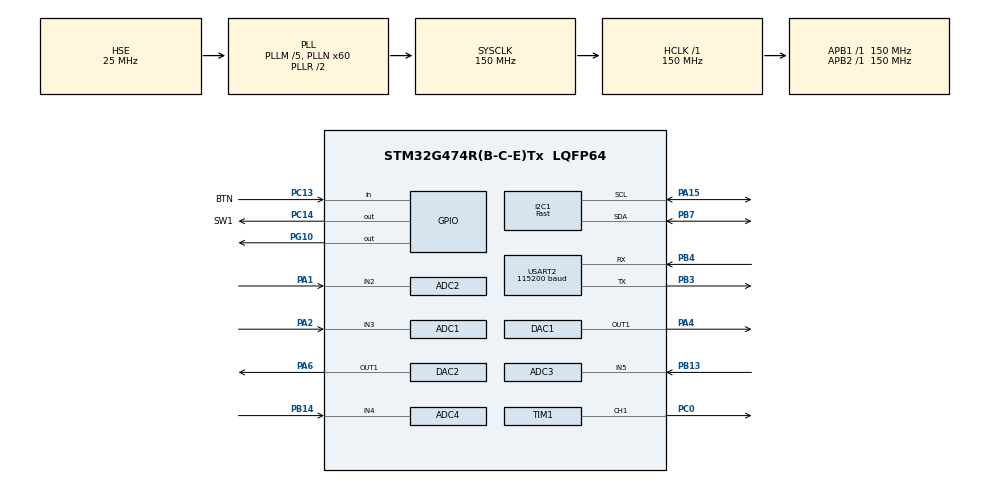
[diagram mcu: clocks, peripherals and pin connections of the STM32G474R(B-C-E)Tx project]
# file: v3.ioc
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ADC1.Channel-0\#ChannelRegularConversion=ADC_CHANNEL_3
ADC1.ClockPrescaler=ADC_CLOCK_ASYNC_DIV1
ADC1.ContinuousConvMode=DISABLE
ADC1.ExternalTrigConv=ADC_EXTERNALTRIG_T6_TRGO
ADC1.NbrOfConversion=1
ADC1.NbrOfConversionFlag=1
ADC1.OffsetNumber-0\#ChannelRegularConversion=ADC_OFFSET_NONE
ADC1.Rank-0\#ChannelRegularConversion=1
ADC1.SamplingTime-0\#ChannelRegularConversion=ADC_SAMPLETIME_2CYCLES_5
ADC1.master=1
ADC2.Channel-0\#ChannelRegularConversion=ADC_CHANNEL_2
ADC2.ClockPrescaler=ADC_CLOCK_ASYNC_DIV1
ADC2.NbrOfConversionFlag=1
ADC2.OffsetNumber-0\#ChannelRegularConversion=ADC_OFFSET_NONE
ADC2.Rank-0\#ChannelRegularConversion=1
ADC2.SamplingTime-0\#ChannelRegularConversion=ADC_SAMPLETIME_2CYCLES_5
ADC3.Channel-0\#ChannelRegularConversion=ADC_CHANNEL_5
ADC3.ClockPrescaler=ADC_CLOCK_ASYNC_DIV1
ADC3.NbrOfConversionFlag=1
ADC3.OffsetNumber-0\#ChannelRegularConversion=ADC_OFFSET_NONE
ADC3.Rank-0\#ChannelRegularConversion=1
ADC3.SamplingTime-0\#ChannelRegularConversion=ADC_SAMPLETIME_2CYCLES_5
ADC3.master=1
ADC4.Channel-1\#ChannelRegularConversion=ADC_CHANNEL_4
ADC4.ClockPrescaler=ADC_CLOCK_ASYNC_DIV1
ADC4.NbrOfConversionFlag=1
ADC4.OffsetNumber-1\#ChannelRegularConversion=ADC_OFFSET_NONE
ADC4.Rank-1\#ChannelRegularConversion=1
ADC4.SamplingTime-1\#ChannelRegularConversion=ADC_SAMPLETIME_2CYCLES_5
CRC.CRCLength=CRC_POLYLENGTH_16B
CRC.DefaultInitValueUse=DEFAULT_INIT_VALUE_DISABLE
CRC.DefaultPolynomialUse=DEFAULT_POLYNOMIAL_DISABLE
CRC.GeneratingPolynomial=X12+X5+X0
DAC1.DAC_Trigger_OUT1-DAC_OUT1=DAC_TRIGGER_SOFTWARE
DAC2.DAC_Trigger_OUT1-DAC_OUT1=DAC_TRIGGER_SOFTWARE
Dma.ADC1.3.Direction=DMA_PERIPH_TO_MEMORY
Dma.ADC1.3.EventEnable=DISABLE
Dma.ADC1.3.Instance=DMA1_Channel4
Dma.ADC1.3.MemDataAlignment=DMA_MDATAALIGN_HALFWORD
Dma.ADC1.3.MemInc=DMA_MINC_ENABLE
Dma.ADC1.3.Mode=DMA_NORMAL
Dma.ADC1.3.PeriphDataAlignment=DMA_PDATAALIGN_HALFWORD
Dma.ADC1.3.PeriphInc=DMA_PINC_DISABLE
Dma.ADC1.3.Polarity=HAL_DMAMUX_REQ_GEN_RISING
Dma.ADC1.3.Priority=DMA_PRIORITY_LOW
Dma.ADC1.3.RequestNumber=1
Dma.ADC1.3.SignalID=NONE
Dma.ADC1.3.SyncEnable=DISABLE
Dma.ADC1.3.SyncPolarity=HAL_DMAMUX_SYNC_NO_EVENT
Dma.ADC1.3.SyncRequestNumber=1
Dma.ADC1.3.SyncSignalID=NONE
Dma.DAC1_CH1.1.Direction=DMA_MEMORY_TO_PERIPH
Dma.DAC1_CH1.1.EventEnable=DISABLE
Dma.DAC1_CH1.1.Instance=DMA1_Channel3
Dma.DAC1_CH1.1.MemDataAlignment=DMA_MDATAALIGN_HALFWORD
Dma.DAC1_CH1.1.MemInc=DMA_MINC_ENABLE
Dma.DAC1_CH1.1.Mode=DMA_CIRCULAR
Dma.DAC1_CH1.1.PeriphDataAlignment=DMA_PDATAALIGN_WORD
Dma.DAC1_CH1.1.PeriphInc=DMA_PINC_DISABLE
Dma.DAC1_CH1.1.Polarity=HAL_DMAMUX_REQ_GEN_RISING
Dma.DAC1_CH1.1.Priority=DMA_PRIORITY_LOW
Dma.DAC1_CH1.1.RequestNumber=1
Dma.DAC1_CH1.1.SignalID=NONE
Dma.DAC1_CH1.1.SyncEnable=DISABLE
Dma.DAC1_CH1.1.SyncPolarity=HAL_DMAMUX_SYNC_NO_EVENT
Dma.DAC1_CH1.1.SyncRequestNumber=1
Dma.DAC1_CH1.1.SyncSignalID=NONE
Dma.Request0=USART2_RX
Dma.Request1=DAC1_CH1
Dma.Request2=USART2_TX
Dma.Request3=ADC1
Dma.USART2_RX.0.Direction=DMA_PERIPH_TO_MEMORY
Dma.USART2_RX.0.EventEnable=DISABLE
Dma.USART2_RX.0.Instance=DMA1_Channel1
Dma.USART2_RX.0.MemDataAlignment=DMA_MDATAALIGN_BYTE
Dma.USART2_RX.0.MemInc=DMA_MINC_ENABLE
Dma.USART2_RX.0.Mode=DMA_NORMAL
Dma.USART2_RX.0.PeriphDataAlignment=DMA_PDATAALIGN_BYTE
Dma.USART2_RX.0.PeriphInc=DMA_PINC_DISABLE
Dma.USART2_RX.0.Polarity=HAL_DMAMUX_REQ_GEN_RISING
Dma.USART2_RX.0.Priority=DMA_PRIORITY_LOW
Dma.USART2_RX.0.RequestNumber=1
Dma.USART2_RX.0.SignalID=NONE
Dma.USART2_RX.0.SyncEnable=DISABLE
Dma.USART2_RX.0.SyncPolarity=HAL_DMAMUX_SYNC_NO_EVENT
Dma.USART2_RX.0.SyncRequestNumber=1
Dma.USART2_RX.0.SyncSignalID=NONE
Dma.USART2_TX.2.Direction=DMA_MEMORY_TO_PERIPH
Dma.USART2_TX.2.EventEnable=DISABLE
Dma.USART2_TX.2.Instance=DMA1_Channel2
Dma.USART2_TX.2.MemDataAlignment=DMA_MDATAALIGN_BYTE
Dma.USART2_TX.2.MemInc=DMA_MINC_ENABLE
Dma.USART2_TX.2.Mode=DMA_NORMAL
Dma.USART2_TX.2.PeriphDataAlignment=DMA_PDATAALIGN_BYTE
Dma.USART2_TX.2.PeriphInc=DMA_PINC_DISABLE
Dma.USART2_TX.2.Polarity=HAL_DMAMUX_REQ_GEN_RISING
Dma.USART2_TX.2.Priority=DMA_PRIORITY_LOW
Dma.USART2_TX.2.RequestNumber=1
Dma.USART2_TX.2.SignalID=NONE
Dma.USART2_TX.2.SyncEnable=DISABLE
Dma.USART2_TX.2.SyncPolarity=HAL_DMAMUX_SYNC_NO_EVENT
Dma.USART2_TX.2.SyncRequestNumber=1
Dma.USART2_TX.2.SyncSignalID=NONE
I2C1.I2C_Speed_Mode=I2C_Fast
I2C1.Timing=0x00E063FF
Mcu.Family=STM32G4
Mcu.Name=STM32G474R(B-C-E)Tx
Mcu.Package=LQFP64
NVIC.DMA1_Channel1_IRQn=true\:1\:0\:true\:false\:true\:true\:true\:true
NVIC.DMA1_Channel2_IRQn=true\:1\:0\:true\:false\:true\:true\:true\:true
NVIC.DMA1_Channel3_IRQn=true\:1\:0\:true\:false\:true\:false\:true\:true
NVIC.DMA1_Channel4_IRQn=true\:1\:0\:true\:false\:true\:false\:true\:true
NVIC.PriorityGroup=NVIC_PRIORITYGROUP_4
NVIC.TIM6_DAC_IRQn=true\:0\:0\:false\:false\:true\:true\:true\:true
NVIC.TIM7_DAC_IRQn=true\:0\:0\:false\:false\:true\:true\:true\:true
NVIC.USART2_IRQn=true\:0\:0\:true\:false\:true\:true\:true\:true
PA1.Mode=IN2-Single-Ended
PA1.Signal=ADC2_IN2
PA15.Mode=I2C
PA15.Signal=I2C1_SCL
PA2.Mode=IN3-Single-Ended
PA2.Signal=ADC1_IN3
PA4.Signal=COMP_DAC11_group
PA6.Signal=COMP_DAC21_group
PB13.Mode=IN5-Single-Ended
PB13.Signal=ADC3_IN5
PB14.Mode=IN4-Single-Ended
PB14.Signal=ADC4_IN4
PB3.Mode=Asynchronous
PB3.Signal=USART2_TX
PB4.Mode=Asynchronous
PB4.Signal=USART2_RX
PB7.Mode=I2C
PB7.Signal=I2C1_SDA
PC0.Signal=S_TIM1_CH1
PC13.GPIO_Label=BTN
PC13.GPIO_PuPd=GPIO_PULLUP
PC13.Signal=GPIO_Input
PC14-OSC32_IN.GPIO_Label=SW1
PC14-OSC32_IN.GPIO_PuPd=GPIO_NOPULL
PC14-OSC32_IN.Signal=GPIO_Output
PF0-OSC_IN.Mode=HSE-External-Oscillator
PF0-OSC_IN.Signal=RCC_OSC_IN
PF1-OSC_OUT.Mode=HSE-External-Oscillator
PF1-OSC_OUT.Signal=RCC_OSC_OUT
PG10-NRST.Signal=GPIO_Output
ProjectManager.HeapSize=0x200
ProjectManager.StackSize=0x400
ProjectManager.TargetToolchain=STM32CubeIDE
RCC.ADC12CLockSelection=RCC_ADC12CLKSOURCE_PLL
RCC.ADC12Freq_Value=60000000
RCC.ADC345CLockSelection=RCC_ADC345CLKSOURCE_PLL
RCC.ADC345Freq_Value=60000000
RCC.AHBFreq_Value=150000000
RCC.APB1Freq_Value=150000000
RCC.APB1TimFreq_Value=150000000
RCC.APB2Freq_Value=150000000
RCC.APB2TimFreq_Value=150000000
RCC.CortexFreq_Value=150000000
RCC.EXTERNAL_CLOCK_VALUE=12288000
RCC.HCLKFreq_Value=150000000
RCC.HSE_VALUE=25000000
RCC.HSI48_VALUE=48000000
RCC.HSI_VALUE=16000000
RCC.LSE_VALUE=32768
RCC.PLLM=RCC_PLLM_DIV5
RCC.PLLN=60
RCC.PLLP=RCC_PLLP_DIV5
RCC.PLLSourceVirtual=RCC_PLLSOURCE_HSE
RCC.SYSCLKFreq_VALUE=150000000
RCC.SYSCLKSource=RCC_SYSCLKSOURCE_PLLCLK
RCC.USART2CLockSelection=RCC_USART2CLKSOURCE_HSI
RCC.USBFreq_Value=150000000
RCC.VCOOutputFreq_Value=300000000
SH.COMP_DAC11_group.0=DAC1_OUT1,DAC_OUT1
SH.COMP_DAC21_group.0=DAC2_OUT1,DAC_OUT1
SH.S_TIM1_CH1.0=TIM1_CH1,PWM Generation1 CH1
TIM1.Channel-PWM\ Generation1\ CH1=TIM_CHANNEL_1
TIM1.PeriodNoDither=149
TIM1.PulseNoDither_1=75
TIM6.AutoReloadPreload=TIM_AUTORELOAD_PRELOAD_ENABLE
TIM6.PeriodNoDither=149
TIM6.Prescaler=0
TIM6.TIM_MasterOutputTrigger=TIM_TRGO_UPDATE
USART2.BaudRate=115200
USART2.VirtualMode-Asynchronous=VM_ASYNC
VP_CRC_VS_CRC.Mode=CRC_Activate
VP_SYS_VS_DBSignals.Mode=DisableDeadBatterySignals
VP_TIM6_VS_ClockSourceINT.Mode=Enable_Timer
board=custom

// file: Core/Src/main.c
/* USER CODE BEGIN Header */
/**
 ******************************************************************************
 * @file           : main.c
 * @brief          : Main program body
 ******************************************************************************
 * @attention
 *
 * Copyright (c) 2024 STMicroelectronics.
 * All rights reserved.
 *
 * This software is licensed under terms that can be found in the LICENSE file
 * in the root directory of this software component.
 * If no LICENSE file comes with this software, it is provided AS-IS.
 *
 ******************************************************************************
 */
/* USER CODE END Header */
#include "main.h"

/* USER CODE BEGIN Includes */
#include "arm_math.h"
#include "arm_const_structs.h"
#include <string.h>
#include "uart_reg.h"
#include <stdio.h>
/* USER CODE END Includes */

/* USER CODE BEGIN PD */
#define samples 4096
#define FFT_LENGTH 4096
#define samples1 1024
#define FFT_LENGTH1 1024
/* USER CODE END PD */

ADC_HandleTypeDef hadc1;
ADC_HandleTypeDef hadc2;
ADC_HandleTypeDef hadc3;
ADC_HandleTypeDef hadc4;
DMA_HandleTypeDef hdma_adc1;

CRC_HandleTypeDef hcrc;

DAC_HandleTypeDef hdac1;
DAC_HandleTypeDef hdac2;
DMA_HandleTypeDef hdma_dac1_ch1;

I2C_HandleTypeDef hi2c1;

TIM_HandleTypeDef htim1;
TIM_HandleTypeDef htim6;

UART_HandleTypeDef huart2;
DMA_HandleTypeDef hdma_usart2_rx;
DMA_HandleTypeDef hdma_usart2_tx;

void SystemClock_Config(void);
static void MX_GPIO_Init(void);
static void MX_DMA_Init(void);
static void MX_USART2_UART_Init(void);
static void MX_CRC_Init(void);
static void MX_ADC1_Init(void);
static void MX_I2C1_Init(void);
static void MX_DAC1_Init(void);
static void MX_TIM6_Init(void);
static void MX_ADC2_Init(void);
static void MX_ADC3_Init(void);
static void MX_ADC4_Init(void);
static void MX_TIM1_Init(void);
static void MX_DAC2_Init(void);

/* USER CODE BEGIN 0 */

uint16_t adc_buffer[samples];
uint8_t adc_buffer1[samples1];
float thd = 0;
volatile int adc_ongoing = 0; //volatile affects compiler compilation results. volatile indicates that variables may change at any time. Do not optimize operations related to volatile variables to avoid errors
void floatToString(float num, char *str, int precision);
void HAL_ADC_ConvCpltCallback(ADC_HandleTypeDef *hadc) {
	if (hadc == &hadc1) {
		adc_ongoing = 0;
		HAL_TIM_Base_Stop(&htim6);
		HAL_ADC_Stop_DMA(hadc);
	}
}
void i2c_handler(uint8_t *data, size_t size) {
	if (data[0] == 'W') {
		uint8_t addr = data[1];
		uint8_t len = size - 2;
		uint8_t ret = 0;
		if (HAL_I2C_Master_Transmit(&hi2c1, addr, data + 2, len, len + 1)
				!= HAL_OK)
			ret = -1;
		uart_transmit(&ret, 1);
	} else if (data[0] == 'R') {
		uint8_t addr = data[1];
		uint8_t len = data[2];
		uint8_t ret[len + 1];
		ret[0] = 0;
		if (HAL_I2C_Master_Receive(&hi2c1, addr, ret + 1, len, len + 1)
				!= HAL_OK)
			ret[0] = -1;
		uart_transmit(ret, len + 1);
	}
}

void adc_handler(uint8_t *data, size_t size) {
//	const char lzz[6]="wsy\r\n";
//	uart_transmit(lzz, 6);
	uart_transmit(adc_buffer1, samples1);
}

void split_uint16_to_uint8(const uint16_t *uint16_array,
		size_t uint16_array_size, uint8_t *uint8_array) {
	for (size_t i = 0; i < uint16_array_size; i++) {
		uint8_array[i * 2 + 1] = (uint8_t) (uint16_array[i] >> 8);
		uint8_array[i * 2] = (uint8_t) (uint16_array[i] & 0xFF);
	}
}
int findMaxIndexInRange(uint16_t arr[], int start, int end) {
	int maxIndex = start;
	for (int i = start + 1; i <= end; i++) {
		if (arr[i] > arr[maxIndex]) {
			maxIndex = i;
		}
	}
	return maxIndex;
}
void calculateTHD (uint16_t fft_int[])
{
  int max = findMaxIndexInRange (fft_int, 0, 511);
  float fundamental_amplitude = fft_int[max];
  float harmonics_amplitude_sum_squared = 0.0f;
  int second = findMaxIndexInRange (fft_int, 150, 250);
  int third = findMaxIndexInRange (fft_int, 250, 350);
  int fourth = findMaxIndexInRange (fft_int, 350, 450);
  int fifth = findMaxIndexInRange (fft_int, 450, 511);
  harmonics_amplitude_sum_squared = fft_int[second] * fft_int[second]
      + fft_int[third] * fft_int[third] + fft_int[fourth] * fft_int[fourth]
      + fft_int[fifth] * fft_int[fifth];
  harmonics_amplitude_sum_squared = sqrtf (harmonics_amplitude_sum_squared);
  thd = 100 * (harmonics_amplitude_sum_squared) / (fundamental_amplitude);
  int a = 0;
  a = a + 1;
}
uint16_t findMax(uint16_t arr[], int size) {
	uint16_t max = 0;
	for (int i = 0; i < size; i++) {
		if (arr[i] > max) {
			max = arr[i];
		}
	}
	return max;
}

// 找出数组中的�???????小�??
uint16_t findMin(uint16_t arr[], int size) {
	uint16_t min = UINT16_MAX;
	for (int i = 0; i < size; i++) {
		if (arr[i] < min) {
			min = arr[i];
		}
	}
	return min;
}
/* USER CODE END 0 */

int main(void) {

	/* MCU Configuration--------------------------------------------------------*/

	/* Reset of all peripherals, Initializes the Flash interface and the Systick. */
	HAL_Init();

	/* Configure the system clock */
	SystemClock_Config();

	/* Initialize all configured peripherals */
	MX_GPIO_Init();
	MX_DMA_Init();
	MX_USART2_UART_Init();
	MX_CRC_Init();
	MX_ADC1_Init();
	MX_I2C1_Init();
	MX_DAC1_Init();
	MX_TIM6_Init();
	MX_ADC2_Init();
	MX_ADC3_Init();
	MX_ADC4_Init();
	MX_TIM1_Init();
	MX_DAC2_Init();
	/* USER CODE BEGIN 2 */
	for (int i = 0; i < 3; i++) {
		HAL_TIM_Base_Start(&htim6);
		HAL_ADC_Start_DMA(&hadc1, (uint32_t*) adc_buffer, samples);
		adc_ongoing = 1;
		while (adc_ongoing)
			;
		HAL_Delay(30);
	}
	float fft_inputbuf1[FFT_LENGTH * 2];	//FFT输入数组
	float fft_outputbuf1[FFT_LENGTH];	//FFT输出数组
	uint16_t fft_int1[FFT_LENGTH / 2];		//将输出变成整�???????
	for (int i = 0; i < FFT_LENGTH; i++)	//生成信号序列
			{
		fft_inputbuf1[2 * i] = adc_buffer[i] / 8;
		fft_inputbuf1[2 * i + 1] = 0;	//信号虚部，全部为0
	}
	arm_cfft_f32(&arm_cfft_sR_f32_len4096, fft_inputbuf1, 0, 1);
	arm_cmplx_mag_f32(fft_inputbuf1, fft_outputbuf1, FFT_LENGTH);
	for (int i = 0; i < FFT_LENGTH / 2; i++)	//生成信号序列
			{
		fft_int1[i] = (uint16_t) fft_outputbuf1[i];
	}
	fft_int1[0] = 0;
	int max1 = 15000 / findMaxIndexInRange(fft_int1, 0, 511);
	TIM6->ARR = max1 - 1;
	HAL_GPIO_WritePin(SW1_GPIO_Port, SW1_Pin, GPIO_PIN_RESET);
	HAL_DAC_SetValue(&hdac1, DAC_CHANNEL_1, DAC_ALIGN_12B_R, 2048);
	HAL_DAC_Start(&hdac1, DAC_CHANNEL_1);
	HAL_DAC_SetValue(&hdac2, DAC_CHANNEL_1, DAC_ALIGN_12B_R, 2048);
	HAL_DAC_Start(&hdac2, DAC_CHANNEL_1);
	int v = 1000;
	int vl = 200;
	int vr = 2000;
	int x = v * 4096 / 3300;
	int xl = vl * 4096 / 3300;
	int xr = vr * 4096 / 3300;
	uint16_t vpp = 0;
	HAL_DAC_SetValue(&hdac1, DAC_CHANNEL_1, DAC_ALIGN_12B_R, x);
	HAL_DAC_Start(&hdac1, DAC_CHANNEL_1);
	HAL_Delay(20);
	for (int i = 0; i < 2; i++) {
		HAL_TIM_Base_Start(&htim6);
		HAL_ADC_Start_DMA(&hadc1, (uint32_t*) adc_buffer, samples);
		adc_ongoing = 1;
		while (adc_ongoing)
			;
		HAL_Delay(30);
	}
	vpp = findMax(adc_buffer, samples) - findMin(adc_buffer, samples);
	for (int i = 0; i < 10; i++) {
		if (vpp > 3000 * 4096 / 3300) {
			xl = x;
			x = (x + xr) / 2;
		} else {
			xr = x;
			x = (x + xl) / 2;
		}
		HAL_DAC_SetValue(&hdac1, DAC_CHANNEL_1, DAC_ALIGN_12B_R, x);
		HAL_DAC_Start(&hdac1, DAC_CHANNEL_1);
		for (int i = 0; i < 2; i++) {
			HAL_TIM_Base_Start(&htim6);
			HAL_ADC_Start_DMA(&hadc1, (uint32_t*) adc_buffer, samples);
			adc_ongoing = 1;
			while (adc_ongoing)
				;
			HAL_Delay(30);
		}
		vpp = findMax(adc_buffer, samples) - findMin(adc_buffer, samples);
	}
	HAL_DAC_SetValue(&hdac2, DAC_CHANNEL_1, DAC_ALIGN_12B_R,
			(int) 2200 * 4096 / 3300);
	HAL_DAC_Start(&hdac2, DAC_CHANNEL_1);
	uart_init();
	uart_register_handler("I2C", i2c_handler);
	uart_register_handler("ADC", adc_handler);
//	TIM6->ARR = 299;
//	for (int i = 0; i < 3; i++) {
//		HAL_TIM_Base_Start(&htim6);
//		HAL_ADC_Start_DMA(&hadc1, (uint32_t*) adc_buffer, samples);
//		adc_ongoing = 1;
//		while (adc_ongoing)
//			;
//		HAL_Delay(300);
//	}
//	for (int i = 0; i < FFT_LENGTH; i++)	//生成信号序列
//			{
//		fft_inputbuf[2 * i] = adc_buffer[i] / 4;
//		fft_inputbuf[2 * i + 1] = 0;	//信号虚部，全部为0
//	}
//	arm_cfft_f32(&arm_cfft_sR_f32_len4096, fft_inputbuf, 0, 1);
//	arm_cmplx_mag_f32(fft_inputbuf, fft_outputbuf, FFT_LENGTH);
//	for (int i = 0; i < FFT_LENGTH; i++)	//生成信号序列
//			{
//		fft_int[i] = (uint16_t) fft_outputbuf[i];
//	}
//	fft_int[0] = 0;
//	max = 3000 / findMaxIndexInRange(fft_int, 0, 511);
//	TIM6->PSC = 9;
//	TIM6->ARR = (max - 1);
//	for (int i = 0; i < 3; i++) {
//		HAL_TIM_Base_Start(&htim6);
//		HAL_ADC_Start_DMA(&hadc1, (uint32_t*) adc_buffer, samples);
//		adc_ongoing = 1;
//		while (adc_ongoing)
//			;
//		HAL_Delay(30);
//	}
//	for (int i = 0; i < FFT_LENGTH; i++)	//生成信号序列
//			{
//		fft_inputbuf[2 * i] = adc_buffer[i] / 8;
//		fft_inputbuf[2 * i + 1] = 0;	//信号虚部，全部为0
//	}
//	arm_cfft_f32(&arm_cfft_sR_f32_len4096, fft_inputbuf, 0, 1);
//	arm_cmplx_mag_f32(fft_inputbuf, fft_outputbuf, FFT_LENGTH);
//	for (int i = 0; i < FFT_LENGTH / 2; i++)	//生成信号序列
//			{
//		fft_int[i] = (uint16_t) fft_outputbuf[i];
//	}
//	fft_int[0] = 0;
//	split_uint16_to_uint8(fft_int, samples /2, adc_buffer1);
//	calculateTHD(fft_int);

//	for (int i = 0; i < 3; i++) {
//		HAL_TIM_Base_Start(&htim6);
//		HAL_ADC_Start_DMA(&hadc1, (uint32_t*) adc_buffer, samples);
//		adc_ongoing = 1;
//		while (adc_ongoing)
//			;
//		HAL_Delay(1000);
//	}
//	for (int i = 0; i < FFT_LENGTH; i++)	//生成信号序列
//			{
//		fft_inputbuf[2 * i] = adc_buffer[i];
//		fft_inputbuf[2 * i + 1] = 0;	//信号虚部，全部为0
//	}
//	arm_cfft_f32(&arm_cfft_sR_f32_len4096, fft_inputbuf, 0, 1);
//	arm_cmplx_mag_f32(fft_inputbuf, fft_outputbuf, FFT_LENGTH);
//	for (int i = 0; i < FFT_LENGTH / 2; i++)	//生成信号序列
//			{
//		fft_int[i] = (uint16_t) fft_outputbuf[i]/2;
//	}
//	fft_int[0] = 0;
//	max = 20000/findMaxIndexInRange(fft_int, 0,511);
//	TIM6->ARR = max-1;
//	for (int i = 0; i < 3; i++) {
//		HAL_TIM_Base_Start(&htim6);
//		HAL_ADC_Start_DMA(&hadc1, (uint32_t*) adc_buffer, samples);
//		adc_ongoing = 1;
//		while (adc_ongoing)
//			;
//		HAL_Delay(1000);
//	}
//	for (int i = 0; i < FFT_LENGTH; i++)	//生成信号序列
//			{
//		fft_inputbuf[2 * i] = adc_buffer[i];
//		fft_inputbuf[2 * i + 1] = 0;	//信号虚部，全部为0
//	}
//	arm_cfft_f32(&arm_cfft_sR_f32_len4096, fft_inputbuf, 0, 1);
//	arm_cmplx_mag_f32(fft_inputbuf, fft_outputbuf, FFT_LENGTH);
//	for (int i = 0; i < FFT_LENGTH / 2; i++)	//生成信号序列
//			{
//		fft_int[i] = (uint16_t) fft_outputbuf[i]/2;
//	}
//	fft_int[0] = 0;
//	split_uint16_to_uint8(fft_int, samples / 2, adc_buffer1);
//	calculateTHD(fft_int);
	TIM6->ARR = 149;
	for (int i = 0; i < 3; i++) {
		HAL_TIM_Base_Start(&htim6);
		HAL_ADC_Start_DMA(&hadc1, (uint32_t*) adc_buffer, samples1);
		adc_ongoing = 1;
		while (adc_ongoing)
			;
		HAL_Delay(1000);
	}
	float fft_inputbuf[FFT_LENGTH1 * 2];	//FFT输入数组
	float fft_outputbuf[FFT_LENGTH1];	//FFT输出数组
	uint16_t fft_int[FFT_LENGTH1 / 2];		//将输出变成整�??
	for (int i = 0; i < FFT_LENGTH1; i++)	//生成信号序列
			{
		fft_inputbuf[2 * i] = adc_buffer[i] / 8;
		fft_inputbuf[2 * i + 1] = 0;	//信号虚部，全部为0
	}
	arm_cfft_f32(&arm_cfft_sR_f32_len1024, fft_inputbuf, 0, 1);
	arm_cmplx_mag_f32(fft_inputbuf, fft_outputbuf, FFT_LENGTH1);
	for (int i = 0; i < FFT_LENGTH1 / 2; i++)	//生成信号序列
			{
		fft_int[i] = (uint16_t) fft_outputbuf[i];
	}
	fft_int[0] = 0;
	if (findMaxIndexInRange(fft_int, 0, 511) < 2) {
		TIM6->PSC = 9;
		for (int i = 0; i < 3; i++) {
			HAL_TIM_Base_Start(&htim6);
			HAL_ADC_Start_DMA(&hadc1, (uint32_t*) adc_buffer, samples1);
			adc_ongoing = 1;
			while (adc_ongoing)
				;
			HAL_Delay(1000);
		}
		for (int i = 0; i < FFT_LENGTH1; i++)	//生成信号序列
				{
			fft_inputbuf[2 * i] = adc_buffer[i] / 8;
			fft_inputbuf[2 * i + 1] = 0;	//信号虚部，全部为0
		}
		arm_cfft_f32(&arm_cfft_sR_f32_len1024, fft_inputbuf, 0, 1);
		arm_cmplx_mag_f32(fft_inputbuf, fft_outputbuf, FFT_LENGTH1);
		for (int i = 0; i < FFT_LENGTH1 / 2; i++)	//生成信号序列
				{
			fft_int[i] = (uint16_t) fft_outputbuf[i];
		}
		fft_int[0] = 0;
	}
	int max = 14000 / findMaxIndexInRange(fft_int, 0, 511);
	TIM6->ARR = (max - 1);
	for (int i = 0; i < 3; i++) {
		HAL_TIM_Base_Start(&htim6);
		HAL_ADC_Start_DMA(&hadc1, (uint32_t*) adc_buffer, samples1);
		adc_ongoing = 1;
		while (adc_ongoing)
			;
		HAL_Delay(1000);
	}
	for (int i = 0; i < FFT_LENGTH1; i++)	//生成信号序列
			{
		fft_inputbuf[2 * i] = adc_buffer[i] / 8;
		fft_inputbuf[2 * i + 1] = 0;	//信号虚部，全部为0
	}
	arm_cfft_f32(&arm_cfft_sR_f32_len1024, fft_inputbuf, 0, 1);
	arm_cmplx_mag_f32(fft_inputbuf, fft_outputbuf, FFT_LENGTH1);
	for (int i = 0; i < FFT_LENGTH1 / 2; i++)	//生成信号序列
			{
		fft_int[i] = (uint16_t) fft_outputbuf[i];
	}
	fft_int[0] = 0;
	split_uint16_to_uint8(fft_int, samples1 / 2, adc_buffer1);
	calculateTHD(fft_int);
	/* USER CODE END 2 */

	/* Infinite loop */
	while (1) {

	}
}

void SystemClock_Config(void) {
	RCC_OscInitTypeDef RCC_OscInitStruct = { 0 };
	RCC_ClkInitTypeDef RCC_ClkInitStruct = { 0 };

	/** Configure the main internal regulator output voltage
	 */
	HAL_PWREx_ControlVoltageScaling(PWR_REGULATOR_VOLTAGE_SCALE1);

	/** Initializes the RCC Oscillators according to the specified parameters
	 * in the RCC_OscInitTypeDef structure.
	 */
	RCC_OscInitStruct.OscillatorType = RCC_OSCILLATORTYPE_HSI
			| RCC_OSCILLATORTYPE_HSE;
	RCC_OscInitStruct.HSEState = RCC_HSE_ON;
	RCC_OscInitStruct.HSIState = RCC_HSI_ON;
	RCC_OscInitStruct.HSICalibrationValue = RCC_HSICALIBRATION_DEFAULT;
	RCC_OscInitStruct.PLL.PLLState = RCC_PLL_ON;
	RCC_OscInitStruct.PLL.PLLSource = RCC_PLLSOURCE_HSE;
	RCC_OscInitStruct.PLL.PLLM = RCC_PLLM_DIV5;
	RCC_OscInitStruct.PLL.PLLN = 60;
	RCC_OscInitStruct.PLL.PLLP = RCC_PLLP_DIV5;
	RCC_OscInitStruct.PLL.PLLQ = RCC_PLLQ_DIV2;
	RCC_OscInitStruct.PLL.PLLR = RCC_PLLR_DIV2;
	if (HAL_RCC_OscConfig(&RCC_OscInitStruct) != HAL_OK) {
		Error_Handler();
	}

	/** Initializes the CPU, AHB and APB buses clocks
	 */
	RCC_ClkInitStruct.ClockType = RCC_CLOCKTYPE_HCLK | RCC_CLOCKTYPE_SYSCLK
			| RCC_CLOCKTYPE_PCLK1 | RCC_CLOCKTYPE_PCLK2;
	RCC_ClkInitStruct.SYSCLKSource = RCC_SYSCLKSOURCE_PLLCLK;
	RCC_ClkInitStruct.AHBCLKDivider = RCC_SYSCLK_DIV1;
	RCC_ClkInitStruct.APB1CLKDivider = RCC_HCLK_DIV1;
	RCC_ClkInitStruct.APB2CLKDivider = RCC_HCLK_DIV1;

	if (HAL_RCC_ClockConfig(&RCC_ClkInitStruct, FLASH_LATENCY_4) != HAL_OK) {
		Error_Handler();
	}
}

static void MX_ADC1_Init(void) {

	ADC_MultiModeTypeDef multimode = { 0 };
	ADC_ChannelConfTypeDef sConfig = { 0 };

	/** Common config
	 */
	hadc1.Instance = ADC1;
	hadc1.Init.ClockPrescaler = ADC_CLOCK_ASYNC_DIV1;
	hadc1.Init.Resolution = ADC_RESOLUTION_12B;
	hadc1.Init.DataAlign = ADC_DATAALIGN_RIGHT;
	hadc1.Init.GainCompensation = 0;
	hadc1.Init.ScanConvMode = ADC_SCAN_DISABLE;
	hadc1.Init.EOCSelection = ADC_EOC_SINGLE_CONV;
	hadc1.Init.LowPowerAutoWait = DISABLE;
	hadc1.Init.ContinuousConvMode = DISABLE;
	hadc1.Init.NbrOfConversion = 1;
	hadc1.Init.DiscontinuousConvMode = DISABLE;
	hadc1.Init.ExternalTrigConv = ADC_EXTERNALTRIG_T6_TRGO;
	hadc1.Init.ExternalTrigConvEdge = ADC_EXTERNALTRIGCONVEDGE_RISING;
	hadc1.Init.DMAContinuousRequests = DISABLE;
	hadc1.Init.Overrun = ADC_OVR_DATA_PRESERVED;
	hadc1.Init.OversamplingMode = DISABLE;
	if (HAL_ADC_Init(&hadc1) != HAL_OK) {
		Error_Handler();
	}

	/** Configure the ADC multi-mode
	 */
	multimode.Mode = ADC_MODE_INDEPENDENT;
	if (HAL_ADCEx_MultiModeConfigChannel(&hadc1, &multimode) != HAL_OK) {
		Error_Handler();
	}

	/** Configure Regular Channel
	 */
	sConfig.Channel = ADC_CHANNEL_3;
	sConfig.Rank = ADC_REGULAR_RANK_1;
	sConfig.SamplingTime = ADC_SAMPLETIME_2CYCLES_5;
	sConfig.SingleDiff = ADC_SINGLE_ENDED;
	sConfig.OffsetNumber = ADC_OFFSET_NONE;
	sConfig.Offset = 0;
	if (HAL_ADC_ConfigChannel(&hadc1, &sConfig) != HAL_OK) {
		Error_Handler();
	}

}

static void MX_ADC2_Init(void) {

	ADC_ChannelConfTypeDef sConfig = { 0 };

	/** Common config
	 */
	hadc2.Instance = ADC2;
	hadc2.Init.ClockPrescaler = ADC_CLOCK_ASYNC_DIV1;
	hadc2.Init.Resolution = ADC_RESOLUTION_12B;
	hadc2.Init.DataAlign = ADC_DATAALIGN_RIGHT;
	hadc2.Init.GainCompensation = 0;
	hadc2.Init.ScanConvMode = ADC_SCAN_DISABLE;
	hadc2.Init.EOCSelection = ADC_EOC_SINGLE_CONV;
	hadc2.Init.LowPowerAutoWait = DISABLE;
	hadc2.Init.ContinuousConvMode = DISABLE;
	hadc2.Init.NbrOfConversion = 1;
	hadc2.Init.DiscontinuousConvMode = DISABLE;
	hadc2.Init.ExternalTrigConv = ADC_SOFTWARE_START;
	hadc2.Init.ExternalTrigConvEdge = ADC_EXTERNALTRIGCONVEDGE_NONE;
	hadc2.Init.DMAContinuousRequests = DISABLE;
	hadc2.Init.Overrun = ADC_OVR_DATA_PRESERVED;
	hadc2.Init.OversamplingMode = DISABLE;
	if (HAL_ADC_Init(&hadc2) != HAL_OK) {
		Error_Handler();
	}

	/** Configure Regular Channel
	 */
	sConfig.Channel = ADC_CHANNEL_2;
	sConfig.Rank = ADC_REGULAR_RANK_1;
	sConfig.SamplingTime = ADC_SAMPLETIME_2CYCLES_5;
	sConfig.SingleDiff = ADC_SINGLE_ENDED;
	sConfig.OffsetNumber = ADC_OFFSET_NONE;
	sConfig.Offset = 0;
	if (HAL_ADC_ConfigChannel(&hadc2, &sConfig) != HAL_OK) {
		Error_Handler();
	}

}

static void MX_ADC3_Init(void) {

	ADC_MultiModeTypeDef multimode = { 0 };
	ADC_ChannelConfTypeDef sConfig = { 0 };

	/** Common config
	 */
	hadc3.Instance = ADC3;
	hadc3.Init.ClockPrescaler = ADC_CLOCK_ASYNC_DIV1;
	hadc3.Init.Resolution = ADC_RESOLUTION_12B;
	hadc3.Init.DataAlign = ADC_DATAALIGN_RIGHT;
	hadc3.Init.GainCompensation = 0;
	hadc3.Init.ScanConvMode = ADC_SCAN_DISABLE;
	hadc3.Init.EOCSelection = ADC_EOC_SINGLE_CONV;
	hadc3.Init.LowPowerAutoWait = DISABLE;
	hadc3.Init.ContinuousConvMode = DISABLE;
	hadc3.Init.NbrOfConversion = 1;
	hadc3.Init.DiscontinuousConvMode = DISABLE;
	hadc3.Init.ExternalTrigConv = ADC_SOFTWARE_START;
	hadc3.Init.ExternalTrigConvEdge = ADC_EXTERNALTRIGCONVEDGE_NONE;
	hadc3.Init.DMAContinuousRequests = DISABLE;
	hadc3.Init.Overrun = ADC_OVR_DATA_PRESERVED;
	hadc3.Init.OversamplingMode = DISABLE;
	if (HAL_ADC_Init(&hadc3) != HAL_OK) {
		Error_Handler();
	}

	/** Configure the ADC multi-mode
	 */
	multimode.Mode = ADC_MODE_INDEPENDENT;
	if (HAL_ADCEx_MultiModeConfigChannel(&hadc3, &multimode) != HAL_OK) {
		Error_Handler();
	}

	/** Configure Regular Channel
	 */
	sConfig.Channel = ADC_CHANNEL_5;
	sConfig.Rank = ADC_REGULAR_RANK_1;
	sConfig.SamplingTime = ADC_SAMPLETIME_2CYCLES_5;
	sConfig.SingleDiff = ADC_SINGLE_ENDED;
	sConfig.OffsetNumber = ADC_OFFSET_NONE;
	sConfig.Offset = 0;
	if (HAL_ADC_ConfigChannel(&hadc3, &sConfig) != HAL_OK) {
		Error_Handler();
	}

}

static void MX_ADC4_Init(void) {

	ADC_ChannelConfTypeDef sConfig = { 0 };

	/** Common config
	 */
	hadc4.Instance = ADC4;
	hadc4.Init.ClockPrescaler = ADC_CLOCK_ASYNC_DIV1;
	hadc4.Init.Resolution = ADC_RESOLUTION_12B;
	hadc4.Init.DataAlign = ADC_DATAALIGN_RIGHT;
	hadc4.Init.GainCompensation = 0;
	hadc4.Init.ScanConvMode = ADC_SCAN_DISABLE;
	hadc4.Init.EOCSelection = ADC_EOC_SINGLE_CONV;
	hadc4.Init.LowPowerAutoWait = DISABLE;
	hadc4.Init.ContinuousConvMode = DISABLE;
	hadc4.Init.NbrOfConversion = 1;
	hadc4.Init.DiscontinuousConvMode = DISABLE;
	hadc4.Init.ExternalTrigConv = ADC_SOFTWARE_START;
	hadc4.Init.ExternalTrigConvEdge = ADC_EXTERNALTRIGCONVEDGE_NONE;
	hadc4.Init.DMAContinuousRequests = DISABLE;
	hadc4.Init.Overrun = ADC_OVR_DATA_PRESERVED;
	hadc4.Init.OversamplingMode = DISABLE;
	if (HAL_ADC_Init(&hadc4) != HAL_OK) {
		Error_Handler();
	}

	/** Configure Regular Channel
	 */
	sConfig.Channel = ADC_CHANNEL_4;
	sConfig.Rank = ADC_REGULAR_RANK_1;
	sConfig.SamplingTime = ADC_SAMPLETIME_2CYCLES_5;
	sConfig.SingleDiff = ADC_SINGLE_ENDED;
	sConfig.OffsetNumber = ADC_OFFSET_NONE;
	sConfig.Offset = 0;
	if (HAL_ADC_ConfigChannel(&hadc4, &sConfig) != HAL_OK) {
		Error_Handler();
	}

}

static void MX_CRC_Init(void) {

	hcrc.Instance = CRC;
	hcrc.Init.DefaultPolynomialUse = DEFAULT_POLYNOMIAL_DISABLE;
	hcrc.Init.DefaultInitValueUse = DEFAULT_INIT_VALUE_DISABLE;
	hcrc.Init.GeneratingPolynomial = 4129;
	hcrc.Init.CRCLength = CRC_POLYLENGTH_16B;
	hcrc.Init.InitValue = 0;
	hcrc.Init.InputDataInversionMode = CRC_INPUTDATA_INVERSION_NONE;
	hcrc.Init.OutputDataInversionMode = CRC_OUTPUTDATA_INVERSION_DISABLE;
	hcrc.InputDataFormat = CRC_INPUTDATA_FORMAT_BYTES;
	if (HAL_CRC_Init(&hcrc) != HAL_OK) {
		Error_Handler();
	}

}

static void MX_DAC1_Init(void) {

	DAC_ChannelConfTypeDef sConfig = { 0 };

	/** DAC Initialization
	 */
	hdac1.Instance = DAC1;
	if (HAL_DAC_Init(&hdac1) != HAL_OK) {
		Error_Handler();
	}

	/** DAC channel OUT1 config
	 */
	sConfig.DAC_HighFrequency = DAC_HIGH_FREQUENCY_INTERFACE_MODE_AUTOMATIC;
	sConfig.DAC_DMADoubleDataMode = DISABLE;
	sConfig.DAC_SignedFormat = DISABLE;
	sConfig.DAC_SampleAndHold = DAC_SAMPLEANDHOLD_DISABLE;
	sConfig.DAC_Trigger = DAC_TRIGGER_SOFTWARE;
	sConfig.DAC_Trigger2 = DAC_TRIGGER_NONE;
	sConfig.DAC_OutputBuffer = DAC_OUTPUTBUFFER_ENABLE;
	sConfig.DAC_ConnectOnChipPeripheral = DAC_CHIPCONNECT_EXTERNAL;
	sConfig.DAC_UserTrimming = DAC_TRIMMING_FACTORY;
	if (HAL_DAC_ConfigChannel(&hdac1, &sConfig, DAC_CHANNEL_1) != HAL_OK) {
		Error_Handler();
	}

}

static void MX_DAC2_Init(void) {

	DAC_ChannelConfTypeDef sConfig = { 0 };

	/** DAC Initialization
	 */
	hdac2.Instance = DAC2;
	if (HAL_DAC_Init(&hdac2) != HAL_OK) {
		Error_Handler();
	}

	/** DAC channel OUT1 config
	 */
	sConfig.DAC_HighFrequency = DAC_HIGH_FREQUENCY_INTERFACE_MODE_AUTOMATIC;
	sConfig.DAC_DMADoubleDataMode = DISABLE;
	sConfig.DAC_SignedFormat = DISABLE;
	sConfig.DAC_SampleAndHold = DAC_SAMPLEANDHOLD_DISABLE;
	sConfig.DAC_Trigger = DAC_TRIGGER_SOFTWARE;
	sConfig.DAC_Trigger2 = DAC_TRIGGER_NONE;
	sConfig.DAC_OutputBuffer = DAC_OUTPUTBUFFER_ENABLE;
	sConfig.DAC_ConnectOnChipPeripheral = DAC_CHIPCONNECT_EXTERNAL;
	sConfig.DAC_UserTrimming = DAC_TRIMMING_FACTORY;
	if (HAL_DAC_ConfigChannel(&hdac2, &sConfig, DAC_CHANNEL_1) != HAL_OK) {
		Error_Handler();
	}

}

static void MX_I2C1_Init(void) {

	hi2c1.Instance = I2C1;
	hi2c1.Init.Timing = 0x00E063FF;
	hi2c1.Init.OwnAddress1 = 0;
	hi2c1.Init.AddressingMode = I2C_ADDRESSINGMODE_7BIT;
	hi2c1.Init.DualAddressMode = I2C_DUALADDRESS_DISABLE;
	hi2c1.Init.OwnAddress2 = 0;
	hi2c1.Init.OwnAddress2Masks = I2C_OA2_NOMASK;
	hi2c1.Init.GeneralCallMode = I2C_GENERALCALL_DISABLE;
	hi2c1.Init.NoStretchMode = I2C_NOSTRETCH_DISABLE;
	if (HAL_I2C_Init(&hi2c1) != HAL_OK) {
		Error_Handler();
	}

	/** Configure Analogue filter
	 */
	if (HAL_I2CEx_ConfigAnalogFilter(&hi2c1, I2C_ANALOGFILTER_ENABLE)
			!= HAL_OK) {
		Error_Handler();
	}

	/** Configure Digital filter
	 */
	if (HAL_I2CEx_ConfigDigitalFilter(&hi2c1, 0) != HAL_OK) {
		Error_Handler();
	}

}

static void MX_TIM1_Init(void) {

	TIM_MasterConfigTypeDef sMasterConfig = { 0 };
	TIM_OC_InitTypeDef sConfigOC = { 0 };
	TIM_BreakDeadTimeConfigTypeDef sBreakDeadTimeConfig = { 0 };

	htim1.Instance = TIM1;
	htim1.Init.Prescaler = 0;
	htim1.Init.CounterMode = TIM_COUNTERMODE_UP;
	htim1.Init.Period = 149;
	htim1.Init.ClockDivision = TIM_CLOCKDIVISION_DIV1;
	htim1.Init.RepetitionCounter = 0;
	htim1.Init.AutoReloadPreload = TIM_AUTORELOAD_PRELOAD_DISABLE;
	if (HAL_TIM_PWM_Init(&htim1) != HAL_OK) {
		Error_Handler();
	}
	sMasterConfig.MasterOutputTrigger = TIM_TRGO_RESET;
	sMasterConfig.MasterOutputTrigger2 = TIM_TRGO2_RESET;
	sMasterConfig.MasterSlaveMode = TIM_MASTERSLAVEMODE_DISABLE;
	if (HAL_TIMEx_MasterConfigSynchronization(&htim1, &sMasterConfig)
			!= HAL_OK) {
		Error_Handler();
	}
	sConfigOC.OCMode = TIM_OCMODE_PWM1;
	sConfigOC.Pulse = 75;
	sConfigOC.OCPolarity = TIM_OCPOLARITY_HIGH;
	sConfigOC.OCNPolarity = TIM_OCNPOLARITY_HIGH;
	sConfigOC.OCFastMode = TIM_OCFAST_DISABLE;
	sConfigOC.OCIdleState = TIM_OCIDLESTATE_RESET;
	sConfigOC.OCNIdleState = TIM_OCNIDLESTATE_RESET;
	if (HAL_TIM_PWM_ConfigChannel(&htim1, &sConfigOC, TIM_CHANNEL_1)
			!= HAL_OK) {
		Error_Handler();
	}
	sBreakDeadTimeConfig.OffStateRunMode = TIM_OSSR_DISABLE;
	sBreakDeadTimeConfig.OffStateIDLEMode = TIM_OSSI_DISABLE;
	sBreakDeadTimeConfig.LockLevel = TIM_LOCKLEVEL_OFF;
	sBreakDeadTimeConfig.DeadTime = 0;
	sBreakDeadTimeConfig.BreakState = TIM_BREAK_DISABLE;
	sBreakDeadTimeConfig.BreakPolarity = TIM_BREAKPOLARITY_HIGH;
	sBreakDeadTimeConfig.BreakFilter = 0;
	sBreakDeadTimeConfig.BreakAFMode = TIM_BREAK_AFMODE_INPUT;
	sBreakDeadTimeConfig.Break2State = TIM_BREAK2_DISABLE;
	sBreakDeadTimeConfig.Break2Polarity = TIM_BREAK2POLARITY_HIGH;
	sBreakDeadTimeConfig.Break2Filter = 0;
	sBreakDeadTimeConfig.Break2AFMode = TIM_BREAK_AFMODE_INPUT;
	sBreakDeadTimeConfig.AutomaticOutput = TIM_AUTOMATICOUTPUT_DISABLE;
	if (HAL_TIMEx_ConfigBreakDeadTime(&htim1, &sBreakDeadTimeConfig)
			!= HAL_OK) {
		Error_Handler();
	}
	HAL_TIM_MspPostInit(&htim1);

}

static void MX_TIM6_Init(void) {

	TIM_MasterConfigTypeDef sMasterConfig = { 0 };

	htim6.Instance = TIM6;
	htim6.Init.Prescaler = 0;
	htim6.Init.CounterMode = TIM_COUNTERMODE_UP;
	htim6.Init.Period = 149;
	htim6.Init.AutoReloadPreload = TIM_AUTORELOAD_PRELOAD_ENABLE;
	if (HAL_TIM_Base_Init(&htim6) != HAL_OK) {
		Error_Handler();
	}
	sMasterConfig.MasterOutputTrigger = TIM_TRGO_UPDATE;
	sMasterConfig.MasterSlaveMode = TIM_MASTERSLAVEMODE_DISABLE;
	if (HAL_TIMEx_MasterConfigSynchronization(&htim6, &sMasterConfig)
			!= HAL_OK) {
		Error_Handler();
	}

}

static void MX_USART2_UART_Init(void) {

	huart2.Instance = USART2;
	huart2.Init.BaudRate = 115200;
	huart2.Init.WordLength = UART_WORDLENGTH_8B;
	huart2.Init.StopBits = UART_STOPBITS_1;
	huart2.Init.Parity = UART_PARITY_NONE;
	huart2.Init.Mode = UART_MODE_TX_RX;
	huart2.Init.HwFlowCtl = UART_HWCONTROL_NONE;
	huart2.Init.OverSampling = UART_OVERSAMPLING_16;
	huart2.Init.OneBitSampling = UART_ONE_BIT_SAMPLE_DISABLE;
	huart2.Init.ClockPrescaler = UART_PRESCALER_DIV1;
	huart2.AdvancedInit.AdvFeatureInit = UART_ADVFEATURE_NO_INIT;
	if (HAL_UART_Init(&huart2) != HAL_OK) {
		Error_Handler();
	}
	if (HAL_UARTEx_SetTxFifoThreshold(&huart2, UART_TXFIFO_THRESHOLD_1_8)
			!= HAL_OK) {
		Error_Handler();
	}
	if (HAL_UARTEx_SetRxFifoThreshold(&huart2, UART_RXFIFO_THRESHOLD_1_8)
			!= HAL_OK) {
		Error_Handler();
	}
	if (HAL_UARTEx_DisableFifoMode(&huart2) != HAL_OK) {
		Error_Handler();
	}

}

static void MX_DMA_Init(void) {

	/* DMA controller clock enable */
	__HAL_RCC_DMAMUX1_CLK_ENABLE();
	__HAL_RCC_DMA1_CLK_ENABLE();

	/* DMA interrupt init */
	/* DMA1_Channel1_IRQn interrupt configuration */
	HAL_NVIC_SetPriority(DMA1_Channel1_IRQn, 1, 0);
	HAL_NVIC_EnableIRQ(DMA1_Channel1_IRQn);
	/* DMA1_Channel2_IRQn interrupt configuration */
	HAL_NVIC_SetPriority(DMA1_Channel2_IRQn, 1, 0);
	HAL_NVIC_EnableIRQ(DMA1_Channel2_IRQn);
	/* DMA1_Channel3_IRQn interrupt configuration */
	HAL_NVIC_SetPriority(DMA1_Channel3_IRQn, 1, 0);
	HAL_NVIC_EnableIRQ(DMA1_Channel3_IRQn);
	/* DMA1_Channel4_IRQn interrupt configuration */
	HAL_NVIC_SetPriority(DMA1_Channel4_IRQn, 1, 0);
	HAL_NVIC_EnableIRQ(DMA1_Channel4_IRQn);

}

static void MX_GPIO_Init(void) {
	GPIO_InitTypeDef GPIO_InitStruct = { 0 };

	/* GPIO Ports Clock Enable */
	__HAL_RCC_GPIOC_CLK_ENABLE();
	__HAL_RCC_GPIOF_CLK_ENABLE();
	__HAL_RCC_GPIOG_CLK_ENABLE();
	__HAL_RCC_GPIOA_CLK_ENABLE();
	__HAL_RCC_GPIOB_CLK_ENABLE();

	/*Configure GPIO pin Output Level */
	HAL_GPIO_WritePin(SW1_GPIO_Port, SW1_Pin, GPIO_PIN_RESET);

	/*Configure GPIO pin Output Level */
	HAL_GPIO_WritePin(GPIOG, GPIO_PIN_10, GPIO_PIN_RESET);

	/*Configure GPIO pin : BTN_Pin */
	GPIO_InitStruct.Pin = BTN_Pin;
	GPIO_InitStruct.Mode = GPIO_MODE_INPUT;
	GPIO_InitStruct.Pull = GPIO_PULLUP;
	HAL_GPIO_Init(BTN_GPIO_Port, &GPIO_InitStruct);

	/*Configure GPIO pin : SW1_Pin */
	GPIO_InitStruct.Pin = SW1_Pin;
	GPIO_InitStruct.Mode = GPIO_MODE_OUTPUT_PP;
	GPIO_InitStruct.Pull = GPIO_NOPULL;
	GPIO_InitStruct.Speed = GPIO_SPEED_FREQ_LOW;
	HAL_GPIO_Init(SW1_GPIO_Port, &GPIO_InitStruct);

	/*Configure GPIO pin : PG10 */
	GPIO_InitStruct.Pin = GPIO_PIN_10;
	GPIO_InitStruct.Mode = GPIO_MODE_OUTPUT_PP;
	GPIO_InitStruct.Pull = GPIO_NOPULL;
	GPIO_InitStruct.Speed = GPIO_SPEED_FREQ_LOW;
	HAL_GPIO_Init(GPIOG, &GPIO_InitStruct);

}

/* USER CODE BEGIN 4 */
void floatToString(float num, char *str, int precision) {
// 提取整数部分
	int integerPart = (int) num;
	num -= integerPart;

// 确定符号
	int isNegative = 0;
	if (integerPart < 0) {
		isNegative = 1;
		integerPart = -integerPart;
		num = -num;
	}

// 提取小数部分
	for (int i = 0; i < precision; ++i) {
		num *= 10;
	}
	int decimalPart = (int) (num + 0.5); // 四舍五入

// 将整数部分转换为字符�???????
	char buffer[20];
	int index = 0;
	do {
		buffer[index++] = (integerPart % 10) + '0';
		integerPart /= 10;
	} while (integerPart > 0);

	if (isNegative) {
		buffer[index++] = '-';
	}
	buffer[index] = '\0';

// 反转整数部分字符�???????
	for (int i = 0; i < index / 2; ++i) {
		char temp = buffer[i];
		buffer[i] = buffer[index - i - 1];
		buffer[index - i - 1] = temp;
	}

// 将整数部分复制到结果字符�???????
	int strIndex = 0;
	for (int i = 0; buffer[i] != '\0'; ++i) {
		str[strIndex++] = buffer[i];
	}

// 添加小数�???????
	str[strIndex++] = '.';

// 将小数部分转换为字符�???????
	index = 0;
	do {
		buffer[index++] = (decimalPart % 10) + '0';
		decimalPart /= 10;
	} while (decimalPart > 0);

// 补齐小数部分不足的位�???????
	while (index < precision) {
		buffer[index++] = '0';
	}
	buffer[index] = '\0';

// 反转小数部分字符�???????
	for (int i = 0; i < index / 2; ++i) {
		char temp = buffer[i];
		buffer[i] = buffer[index - i - 1];
		buffer[index - i - 1] = temp;
	}

// 将小数部分复制到结果字符�???????
	for (int i = 0; buffer[i] != '\0'; ++i) {
		str[strIndex++] = buffer[i];
	}
	str[strIndex] = '\0';
}
/* USER CODE END 4 */

void Error_Handler(void) {
	__disable_irq();
	while (1) {
	}
}
